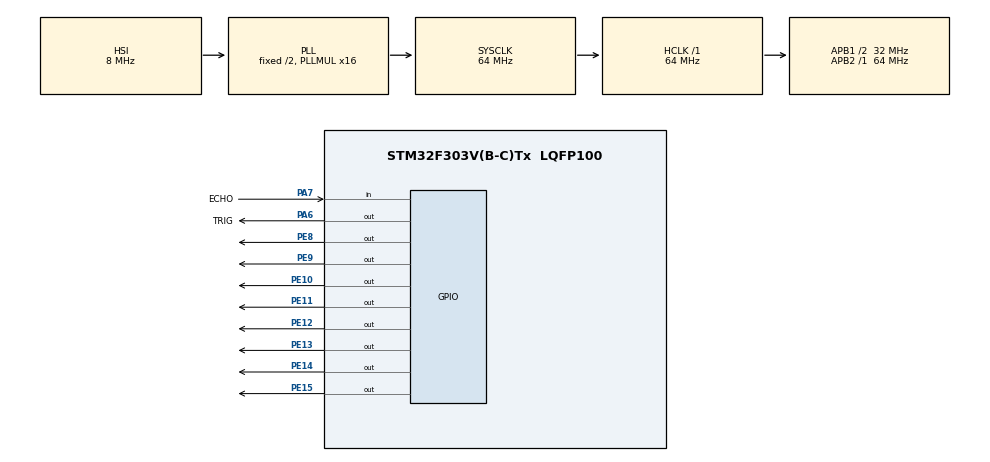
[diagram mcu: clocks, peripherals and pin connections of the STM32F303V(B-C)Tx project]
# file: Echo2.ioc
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Mcu.Family=STM32F3
Mcu.Name=STM32F303V(B-C)Tx
Mcu.Package=LQFP100
NVIC.PriorityGroup=NVIC_PRIORITYGROUP_4
NVIC.TIM6_DAC_IRQn=true\:0\:0\:false\:false\:true\:true
PA6.GPIO_Label=TRIG
PA6.Signal=GPIO_Output
PA7.GPIO_Label=ECHO
PA7.Signal=GPIO_Input
PE10.Signal=GPIO_Output
PE11.Signal=GPIO_Output
PE12.Signal=GPIO_Output
PE13.Signal=GPIO_Output
PE14.Signal=GPIO_Output
PE15.Signal=GPIO_Output
PE8.Signal=GPIO_Output
PE9.Signal=GPIO_Output
ProjectManager.HeapSize=0x200
ProjectManager.StackSize=0x400
ProjectManager.TargetToolchain=SW4STM32
RCC.AHBFreq_Value=64000000
RCC.APB1CLKDivider=RCC_HCLK_DIV2
RCC.APB1Freq_Value=32000000
RCC.APB1TimFreq_Value=64000000
RCC.APB2Freq_Value=64000000
RCC.APB2TimFreq_Value=64000000
RCC.CortexFreq_Value=64000000
RCC.HCLKFreq_Value=64000000
RCC.HSE_VALUE=8000000
RCC.HSI_VALUE=8000000
RCC.LSE_VALUE=32768
RCC.PLLMUL=RCC_PLL_MUL16
RCC.SYSCLKFreq_VALUE=64000000
RCC.SYSCLKSourceVirtual=RCC_SYSCLKSOURCE_PLLCLK
RCC.USBFreq_Value=64000000
TIM6.Period=10000
TIM6.Prescaler=63
VP_TIM6_VS_ClockSourceINT.Mode=Enable_Timer
board=Echo2

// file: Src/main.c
/**
  ******************************************************************************
  * File Name          : main.c
  * Description        : Main program body
  ******************************************************************************
  ** This notice applies to any and all portions of this file
  * that are not between comment pairs USER CODE BEGIN and
  * USER CODE END. Other portions of this file, whether
  * inserted by the user or by software development tools
  * are owned by their respective copyright owners.
  *
  * COPYRIGHT(c) 2017 STMicroelectronics
  *
  * Redistribution and use in source and binary forms, with or without modification,
  * are permitted provided that the following conditions are met:
  *   1. Redistributions of source code must retain the above copyright notice,
  *      this list of conditions and the following disclaimer.
  *   2. Redistributions in binary form must reproduce the above copyright notice,
  *      this list of conditions and the following disclaimer in the documentation
  *      and/or other materials provided with the distribution.
  *   3. Neither the name of STMicroelectronics nor the names of its contributors
  *      may be used to endorse or promote products derived from this software
  *      without specific prior written permission.
  *
  * THIS SOFTWARE IS PROVIDED BY THE COPYRIGHT HOLDERS AND CONTRIBUTORS "AS IS"
  * AND ANY EXPRESS OR IMPLIED WARRANTIES, INCLUDING, BUT NOT LIMITED TO, THE
  * IMPLIED WARRANTIES OF MERCHANTABILITY AND FITNESS FOR A PARTICULAR PURPOSE ARE
  * DISCLAIMED. IN NO EVENT SHALL THE COPYRIGHT HOLDER OR CONTRIBUTORS BE LIABLE
  * FOR ANY DIRECT, INDIRECT, INCIDENTAL, SPECIAL, EXEMPLARY, OR CONSEQUENTIAL
  * DAMAGES (INCLUDING, BUT NOT LIMITED TO, PROCUREMENT OF SUBSTITUTE GOODS OR
  * SERVICES; LOSS OF USE, DATA, OR PROFITS; OR BUSINESS INTERRUPTION) HOWEVER
  * CAUSED AND ON ANY THEORY OF LIABILITY, WHETHER IN CONTRACT, STRICT LIABILITY,
  * OR TORT (INCLUDING NEGLIGENCE OR OTHERWISE) ARISING IN ANY WAY OUT OF THE USE
  * OF THIS SOFTWARE, EVEN IF ADVISED OF THE POSSIBILITY OF SUCH DAMAGE.
  *
  ******************************************************************************
  */
#include "main.h"
#include "stm32f3xx_hal.h"
#include "tim.h"
#include "gpio.h"

/* USER CODE BEGIN PV */
/* Private variables ---------------------------------------------------------*/
extern void initialise_monitor_handles(void);
/* USER CODE END PV */

void SystemClock_Config(void);

/* USER CODE BEGIN PFP */
/* Private function prototypes -----------------------------------------------*/

/* USER CODE END PFP */

/* USER CODE BEGIN 0 */
volatile int overflows;
int leds[8] = {GPIO_PIN_8, GPIO_PIN_9, GPIO_PIN_10, GPIO_PIN_11, GPIO_PIN_12, GPIO_PIN_13, GPIO_PIN_14, GPIO_PIN_15};
volatile int error = 0;

inline void TIM6_reinit() {
	HAL_TIM_Base_Stop(&htim6);
	__HAL_TIM_SET_PRESCALER(&htim6, (SystemCoreClock/10000) - 1);
	__HAL_TIM_SET_COUNTER(&htim6, 0);
	overflows = 0;
	HAL_TIM_Base_Start(&htim6);
}

inline uint32_t TIM6_time() {
	__HAL_TIM_DISABLE_IT(&htim6, TIM_IT_UPDATE);
	uint32_t time = overflows * 10000 + __HAL_TIM_GET_COUNTER(&htim6);
	__HAL_TIM_ENABLE_IT(&htim6, TIM_IT_UPDATE);
	return time;
}

inline void TIM6_delay(uint32_t delay) {
	uint32_t start = TIM6_time();
	while (TIM6_time() < start + delay) {
	}
}

void all_leds(int state) {
	for (int i=0; i<8; i++) {
		HAL_GPIO_WritePin(GPIOE, leds[i], state);
	}
}

void first_leds(int num) {
	all_leds(GPIO_PIN_RESET);
	if (num > 8) {
		num = 8;
	}
	for (int i=0; i<num; i++) {
		HAL_GPIO_WritePin(GPIOE, leds[i], GPIO_PIN_SET);
	}
}

void error_leds() {
	all_leds(GPIO_PIN_RESET);
	for (int i=0; i<8; i+=2) {
		HAL_GPIO_WritePin(GPIOE, leds[i], GPIO_PIN_SET);
	}
}

/* USER CODE END 0 */

int main(void)
{

  /* USER CODE BEGIN 1 */
	initialise_monitor_handles();
  /* USER CODE END 1 */

  /* MCU Configuration----------------------------------------------------------*/

  /* Reset of all peripherals, Initializes the Flash interface and the Systick. */
  HAL_Init();

  /* Configure the system clock */
  SystemClock_Config();

  /* Initialize all configured peripherals */
  MX_GPIO_Init();
  MX_TIM6_Init();
  TIM6_reinit();

  /* Infinite loop */
  while (1)
  {

  /* USER CODE BEGIN 3 */
	  HAL_GPIO_WritePin(GPIOA, TRIG_Pin, GPIO_PIN_SET);
	  TIM6_delay(16);
	  HAL_GPIO_WritePin(GPIOA, TRIG_Pin, GPIO_PIN_RESET);
	  uint32_t wait_start = TIM6_time();
	  while (HAL_GPIO_ReadPin(GPIOA, ECHO_Pin) == GPIO_PIN_RESET) {
		  if (TIM6_time() - wait_start > 50) {
			  error = 1;
			  break;
		  }
	  }
	  if (error) {
		  printf("Error - waiting too long\n");
		  error_leds();
		  error = 0;
	  } else {
		  uint32_t pulse_start = TIM6_time();
		  while (HAL_GPIO_ReadPin(GPIOA, ECHO_Pin) == GPIO_PIN_SET) {
			  if (TIM6_time() - pulse_start > 500000) {
			  error = 1;
			  break;
			  }
		  }
		  if (error) {
			  printf("Error - pulse too long\n");
			  error_leds();
			  error = 0;
		  } else {
				  uint32_t duration = TIM6_time() - pulse_start;
				  printf("Time: %lu mcs, distance: %lu mm\n", duration, duration*343/20);
				  first_leds(duration*343/2000);
		  }

	  }
	  HAL_Delay(100);
  }
  /* USER CODE END 3 */

}

/** System Clock Configuration
*/
void SystemClock_Config(void)
{

  RCC_OscInitTypeDef RCC_OscInitStruct;
  RCC_ClkInitTypeDef RCC_ClkInitStruct;

    /**Initializes the CPU, AHB and APB busses clocks
    */
  RCC_OscInitStruct.OscillatorType = RCC_OSCILLATORTYPE_HSI;
  RCC_OscInitStruct.HSIState = RCC_HSI_ON;
  RCC_OscInitStruct.HSICalibrationValue = 16;
  RCC_OscInitStruct.PLL.PLLState = RCC_PLL_ON;
  RCC_OscInitStruct.PLL.PLLSource = RCC_PLLSOURCE_HSI;
  RCC_OscInitStruct.PLL.PLLMUL = RCC_PLL_MUL16;
  if (HAL_RCC_OscConfig(&RCC_OscInitStruct) != HAL_OK)
  {
    _Error_Handler(__FILE__, __LINE__);
  }

    /**Initializes the CPU, AHB and APB busses clocks
    */
  RCC_ClkInitStruct.ClockType = RCC_CLOCKTYPE_HCLK|RCC_CLOCKTYPE_SYSCLK
                              |RCC_CLOCKTYPE_PCLK1|RCC_CLOCKTYPE_PCLK2;
  RCC_ClkInitStruct.SYSCLKSource = RCC_SYSCLKSOURCE_PLLCLK;
  RCC_ClkInitStruct.AHBCLKDivider = RCC_SYSCLK_DIV1;
  RCC_ClkInitStruct.APB1CLKDivider = RCC_HCLK_DIV2;
  RCC_ClkInitStruct.APB2CLKDivider = RCC_HCLK_DIV1;

  if (HAL_RCC_ClockConfig(&RCC_ClkInitStruct, FLASH_LATENCY_2) != HAL_OK)
  {
    _Error_Handler(__FILE__, __LINE__);
  }

    /**Configure the Systick interrupt time
    */
  HAL_SYSTICK_Config(HAL_RCC_GetHCLKFreq()/1000);

    /**Configure the Systick
    */
  HAL_SYSTICK_CLKSourceConfig(SYSTICK_CLKSOURCE_HCLK);

  /* SysTick_IRQn interrupt configuration */
  HAL_NVIC_SetPriority(SysTick_IRQn, 0, 0);
}

void _Error_Handler(char * file, int line)
{
  while(1)
  {
  }
}

/************************ (C) COPYRIGHT STMicroelectronics *****END OF FILE****/
